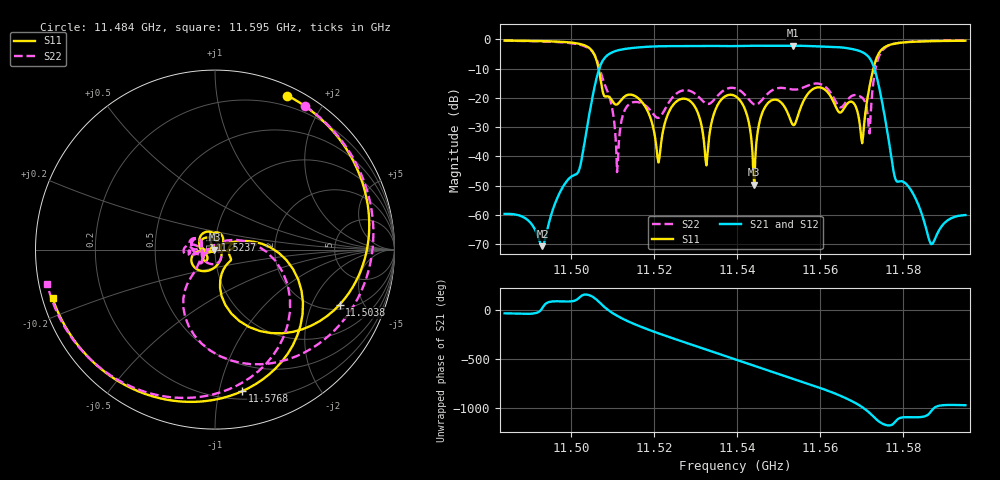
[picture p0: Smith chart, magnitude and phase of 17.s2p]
# Hz S DB R 50
! Planar, S50244, 24171007, 25.4.1/6
! Date: 30.10.2025 10:42:34
! Data: Format (Calibration Info)
! Freq	S11:dB/Ang(F2)	S21:dB/Ang(F2)	S12:dB/Ang(F2)	S22:dB/Ang(F2)
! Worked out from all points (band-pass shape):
!   501 points, 11.484 GHz to 11.595 GHz, reference 50 ohm
!   highest |S21| = -2.21 dB at 11.5535 GHz (marker M1); lowest = -70.7 dB at 11.4931 GHz (marker M2)
!   |S21| within 3 dB of the highest: 11.509 GHz to 11.5711 GHz (62.09 MHz wide, 0.538 % of centre)
!   lowest |S11| = -49.7 dB at 11.5442 GHz (marker M3), VSWR 1.01, Z = 49.7 - j0.023 ohm
!   |S11| at or under -10 dB: 11.5066 GHz to 11.5728 GHz (66.21 MHz wide, 0.574 % of centre)
!   |S22| runs from -45.4 to -0.4 dB; largest |S21 - S12| = 0.01
!   S11 on the Smith chart (normalised r, x): 11.484 GHz: 0.09, +1.57; 11.5038 GHz: 2.25, -3.26; 11.5237 GHz: 0.94, +0.10; 11.5768 GHz: 0.26, -1.17; 11.595 GHz: 0.03, -0.15
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1.1484e10  -0.47 64.9  -59.67 -30.7  -59.76 -29.3  -0.49 57.9
1.14931e10  -0.63 43.6  -70.71 25.1  -70.71 26.1  -0.73 30.3
1.150265e10  -1.79 -10.1  -40.30 152.3  -40.20 151.9  -2.06 -39.5
1.150376e10  -2.40 -23.9  -30.90 161.5  -30.82 160.8  -2.67 -56.2
1.151108e10  -22.27 2.0  -3.86 -55.8  -3.88 -56.0  -45.40 -130.6
1.151641e10  -20.44 2.6  -2.75 -161.6  -2.80 -162.2  -21.57 -142.6
1.152107e10  -42.12 57.1  -2.40 123.6  -2.43 123.4  -26.85 -174.9
1.152374e10  -24.36 115.4  -2.35 83.9  -2.37 83.4  -21.22 -161.3
1.153062e10  -25.38 37.5  -2.27 -14.8  -2.35 -15.0  -19.50 146.1
1.153262e10  -43.09 -78.9  -2.25 -43.7  -2.31 -43.9  -22.01 156.9
1.15395e10  -19.37 111.5  -2.33 -142.9  -2.41 -143.3  -16.72 158.0
1.154416e10  -49.70 -175.9  -2.22 149.7  -2.27 149.6  -22.27 165.3
1.154749e10  -21.73 176.1  -2.24 102.0  -2.28 101.6  -18.44 -166.8
1.155349e10  -29.29 27.2  -2.21 17.7  -2.31 17.5  -17.17 -176.4
1.155815e10  -17.13 -120.9  -2.36 -49.7  -2.41 -49.8  -15.29 -173.0
1.156547e10  -24.25 -133.3  -2.84 -168.6  -2.88 -168.6  -22.86 -150.0
1.157014e10  -35.52 111.2  -4.37 85.7  -4.42 85.5  -19.97 -138.6
1.157191e10  -16.17 18.0  -6.43 26.6  -6.50 26.7  -32.18 111.1
1.157657e10  -2.01 -76.3  -34.87 -102.6  -34.77 -103.0  -2.13 -84.6
1.15768e10  -1.90 -79.2  -36.89 -102.0  -36.79 -102.5  -1.99 -87.6
1.158679e10  -0.65 -142.0  -70.05 45.2  -70.04 43.9  -0.55 -149.1
1.1595e10  -0.49 -163.3  -60.08 105.3  -60.19 103.8  -0.40 -168.2
